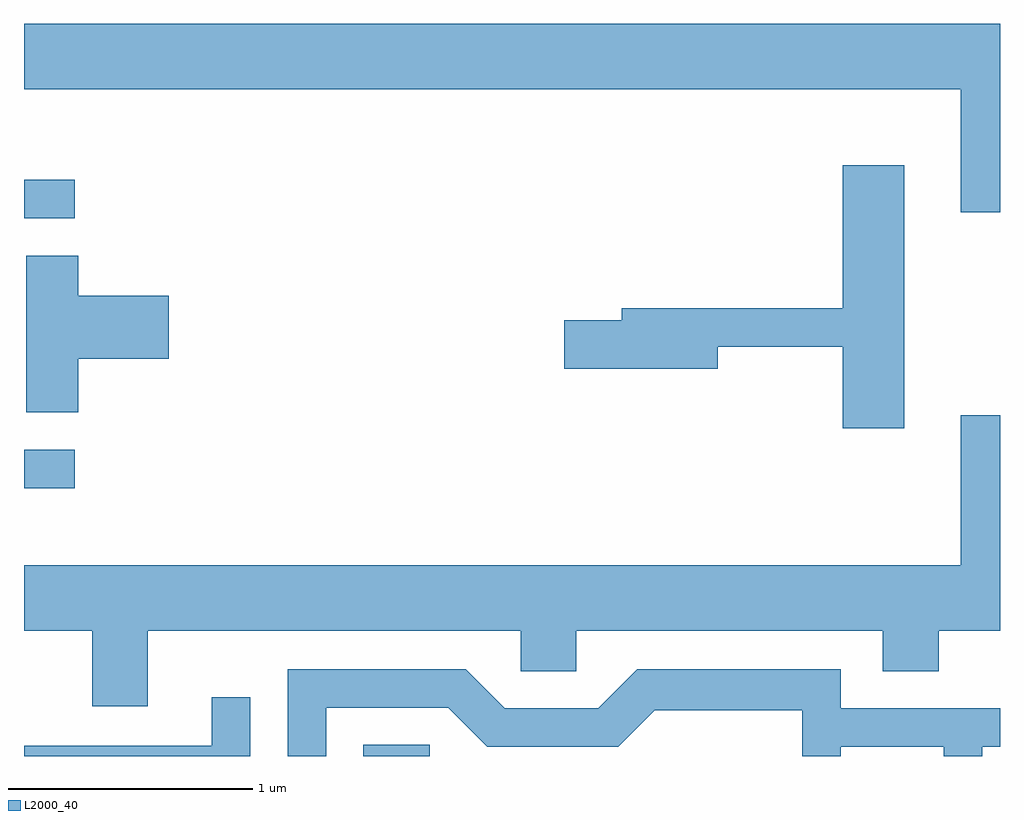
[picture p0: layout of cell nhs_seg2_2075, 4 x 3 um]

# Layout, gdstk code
import gdstk
lib = gdstk.Library(unit=1e-6, precision=1e-09)
def R(c, l, rs):  # rectangles x0, y0, x1, y1
    for r in rs: c.add(gdstk.rectangle(r[:2], r[2:], *l))
def P(c, l, *ps):  # polygons
    for p in ps: c.add(gdstk.Polygon(p, *l))
L2000_40 = (2000, 40)

nhs_seg2_2075 = lib.new_cell('nhs_seg2_2075')
R(nhs_seg2_2075, L2000_40, [(247.001,1047.802,247.273,1047.849), (245.611,1048.901,245.818,1049.059), (245.611,1050.006,245.818,1050.164)])
P(nhs_seg2_2075, L2000_40, [(249.611,1050.804),(245.611,1050.804),(245.611,1050.536),(249.451,1050.536),(249.451,1050.031),(249.611,1050.031)],
  [(249.219,1050.224),(248.966,1050.224),(248.966,1049.639),(248.061,1049.639),(248.061,1049.589),(247.826,1049.589),(247.826,1049.391),(248.454,1049.391),(248.454,1049.481),(248.966,1049.481),(248.966,1049.146),(249.219,1049.146)],
  [(245.834,1049.431),(246.204,1049.431),(246.204,1049.689),(245.834,1049.689),(245.834,1049.854),(245.621,1049.854),(245.621,1049.211),(245.834,1049.211)],
  [(246.119,1048.316),(247.646,1048.316),(247.646,1048.151),(247.874,1048.151),(247.874,1048.316),(249.131,1048.316),(249.131,1048.151),(249.359,1048.151),(249.359,1048.316),(249.611,1048.316),(249.611,1049.199),(249.451,1049.199),(249.451,1048.584),(245.611,1048.584),(245.611,1048.316),(245.891,1048.316),(245.891,1048.006),(246.119,1048.006)],
  [(246.849,1048.001),(247.349,1048.001),(247.509,1047.841),(248.047,1047.841),(248.197,1047.991),(248.801,1047.991),(248.801,1047.802),(248.959,1047.802),(248.959,1047.841),(249.381,1047.841),(249.381,1047.802),(249.539,1047.802),(249.539,1047.841),(249.611,1047.841),(249.611,1047.999),(248.959,1047.999),(248.959,1048.159),(248.124,1048.159),(247.964,1047.999),(247.582,1047.999),(247.422,1048.159),(246.691,1048.159),(246.691,1047.802),(246.849,1047.802)],
  [(246.539,1048.043),(246.381,1048.043),(246.381,1047.844),(245.611,1047.844),(245.611,1047.802),(246.539,1047.802)])

lib.write_gds('nhs_seg2_2075.gds')
